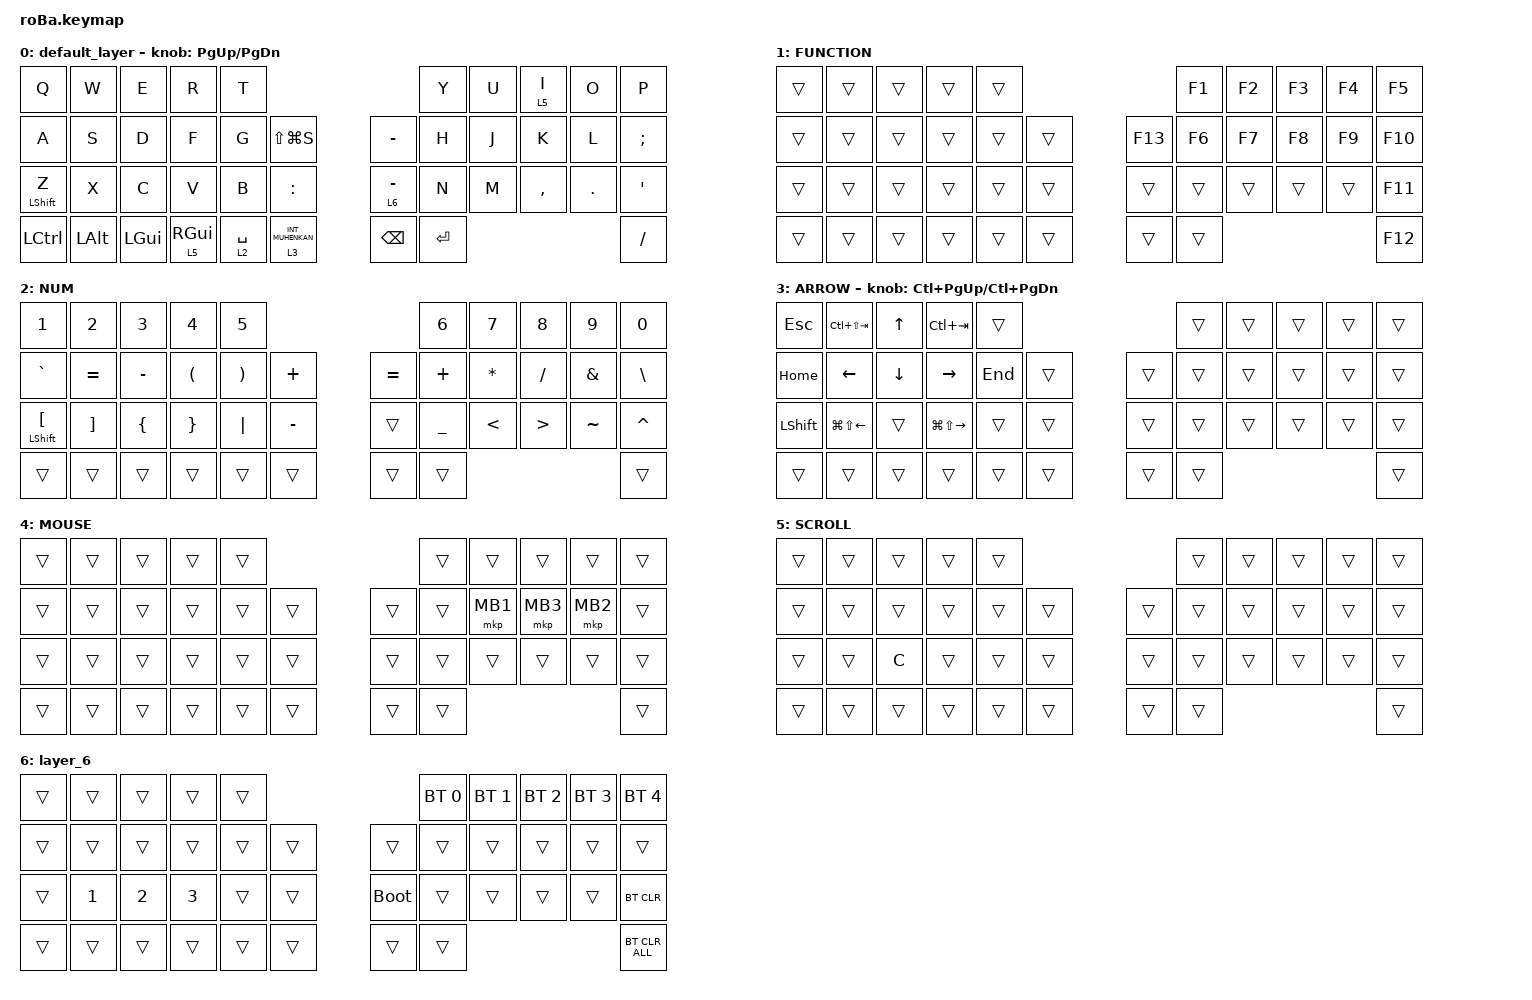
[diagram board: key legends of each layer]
#include <behaviors.dtsi>
#include <dt-bindings/zmk/bt.h>
#include <dt-bindings/zmk/keys.h>
#include <dt-bindings/zmk/pointing.h>

&mt {
    flavor = "balanced";
    quick-tap-ms = <0>;
};

&trackball {
    automouse-layer = <4>;
    scroll-layers = <5>;

    // arrows {
    //     layers = <3>;
    //     bindings =
    //         <&kp RIGHT_ARROW>,
    //         <&kp LEFT_ARROW>,
    //         <&kp UP_ARROW>,
    //         <&kp DOWN_ARROW>;
    //     tick = <10>;
    //     wait-ms = <5>;
    //     tap-ms = <5>;
    // };
};

/ {
    combos {
        compatible = "zmk,combos";

        tab {
            bindings = <&kp TAB>;
            key-positions = <11 12>;
        };

        shift_tab {
            bindings = <&kp LS(TAB)>;
            key-positions = <12 13>;
        };

        muhennkann {
            bindings = <&to_layer_0 INT_MUHENKAN>;
            key-positions = <11 10>;
        };

        double_quotation {
            bindings = <&kp DOUBLE_QUOTES>;
            key-positions = <20 21>;
        };

        end_combo {
            bindings = <&kp ESC>;
            key-positions = <1 2>;
        };

        spotlight {
            bindings = <&kp RG(SPACE)>;
            key-positions = <24 25>;
        };
    };

    macros {
        to_layer_0: to_layer_0 {
            compatible = "zmk,behavior-macro-one-param";
            #binding-cells = <1>;
            bindings = <&to 0 &macro_param_1to1 &kp MACRO_PLACEHOLDER>;
            label = "TO_LAYER_0";
        };
    };

    behaviors {
        lt_to_layer_0: lt_to_layer_0 {
            compatible = "zmk,behavior-hold-tap";
            label = "LAYER_TAP_TO_0";
            bindings = <&mo>, <&to_layer_0>;

            #binding-cells = <2>;
            tapping-term-ms = <200>;
        };
    };

    keymap {
        compatible = "zmk,keymap";

        default_layer {
            bindings = <
&kp Q             &kp W         &kp E         &kp R                       &kp T                                                                   &kp Y      &kp U  &lt 5 I    &kp O    &kp P
&kp A             &kp S         &kp D         &kp F                       &kp G        &kp LS(LG(S))                      &kp MINUS               &kp H      &kp J  &kp K      &kp L    &kp SEMI
&mt LEFT_SHIFT Z  &kp X         &kp C         &kp V                       &kp B        &kp COLON                          &lt_to_layer_0 6 MINUS  &kp N      &kp M  &kp COMMA  &kp DOT  &kp SQT
&kp LCTRL         &kp LEFT_ALT  &kp LEFT_GUI  &lt_to_layer_0 5 RIGHT_GUI  &lt 2 SPACE  &lt_to_layer_0 3 INT_MUHENKAN      &kp BACKSPACE           &kp ENTER                             &kp SLASH
            >;

            sensor-bindings = <&inc_dec_kp PG_UP PAGE_DOWN>;
        };

        FUNCTION {
            bindings = <
&trans  &trans  &trans  &trans  &trans                       &kp F1  &kp F2  &kp F3  &kp F4  &kp F5
&trans  &trans  &trans  &trans  &trans  &trans      &kp F13  &kp F6  &kp F7  &kp F8  &kp F9  &kp F10
&trans  &trans  &trans  &trans  &trans  &trans      &trans   &trans  &trans  &trans  &trans  &kp F11
&trans  &trans  &trans  &trans  &trans  &trans      &trans   &trans                          &kp F12
            >;
        };

        NUM {
            bindings = <
&kp N1                       &kp N2             &kp N3          &kp N4                &kp N5                                           &kp N6          &kp N7        &kp N8     &kp N9         &kp N0
&kp GRAVE                    &kp EQUAL          &kp MINUS       &kp LEFT_PARENTHESIS  &kp RIGHT_PARENTHESIS  &kp PLUS       &kp EQUAL  &kp PLUS        &kp ASTERISK  &kp SLASH  &kp AMPERSAND  &kp BACKSLASH
&mt LEFT_SHIFT LEFT_BRACKET  &kp RIGHT_BRACKET  &kp LEFT_BRACE  &kp RIGHT_BRACE       &kp PIPE               &kp MINUS      &trans     &kp UNDERSCORE  &kp LT        &kp GT     &kp TILDE      &kp CARET
&trans                       &trans             &trans          &trans                &trans                 &trans         &trans     &trans                                                  &trans
            >;
        };

        ARROW {
            bindings = <
&kp ESCAPE      &kp LC(LS(TAB))         &kp UP_ARROW    &kp LC(TAB)              &trans                       &trans  &trans  &trans  &trans  &trans
&kp HOME        &kp LEFT_ARROW          &kp DOWN_ARROW  &kp RIGHT_ARROW          &kp END  &trans      &trans  &trans  &trans  &trans  &trans  &trans
&kp LEFT_SHIFT  &kp LG(LS(LEFT_ARROW))  &trans          &kp LG(LS(RIGHT_ARROW))  &trans   &trans      &trans  &trans  &trans  &trans  &trans  &trans
&trans          &trans                  &trans          &trans                   &trans   &trans      &trans  &trans                          &trans
            >;

            sensor-bindings = <&inc_dec_kp LC(PAGE_UP) LC(PAGE_DOWN)>;
        };

        MOUSE {
            bindings = <
&trans  &trans  &trans  &trans  &trans                      &trans  &trans    &trans    &trans    &trans
&trans  &trans  &trans  &trans  &trans  &trans      &trans  &trans  &mkp MB1  &mkp MB3  &mkp MB2  &trans
&trans  &trans  &trans  &trans  &trans  &trans      &trans  &trans  &trans    &trans    &trans    &trans
&trans  &trans  &trans  &trans  &trans  &trans      &trans  &trans                                &trans
            >;
        };

        SCROLL {
            bindings = <
&trans  &trans  &trans  &trans  &trans                      &trans  &trans  &trans  &trans  &trans
&trans  &trans  &trans  &trans  &trans  &trans      &trans  &trans  &trans  &trans  &trans  &trans
&trans  &trans  &kp C   &trans  &trans  &trans      &trans  &trans  &trans  &trans  &trans  &trans
&trans  &trans  &trans  &trans  &trans  &trans      &trans  &trans                          &trans
            >;
        };

        layer_6 {
            bindings = <
&trans  &trans        &trans        &trans        &trans                           &bt BT_SEL 0  &bt BT_SEL 1  &bt BT_SEL 2  &bt BT_SEL 3  &bt BT_SEL 4
&trans  &trans        &trans        &trans        &trans  &trans      &trans       &trans        &trans        &trans        &trans        &trans
&trans  &kp NUMBER_1  &kp NUMBER_2  &kp NUMBER_3  &trans  &trans      &bootloader  &trans        &trans        &trans        &trans        &bt BT_CLR
&trans  &trans        &trans        &trans        &trans  &trans      &trans       &trans                                                  &bt BT_CLR_ALL
            >;
        };
    };
};
